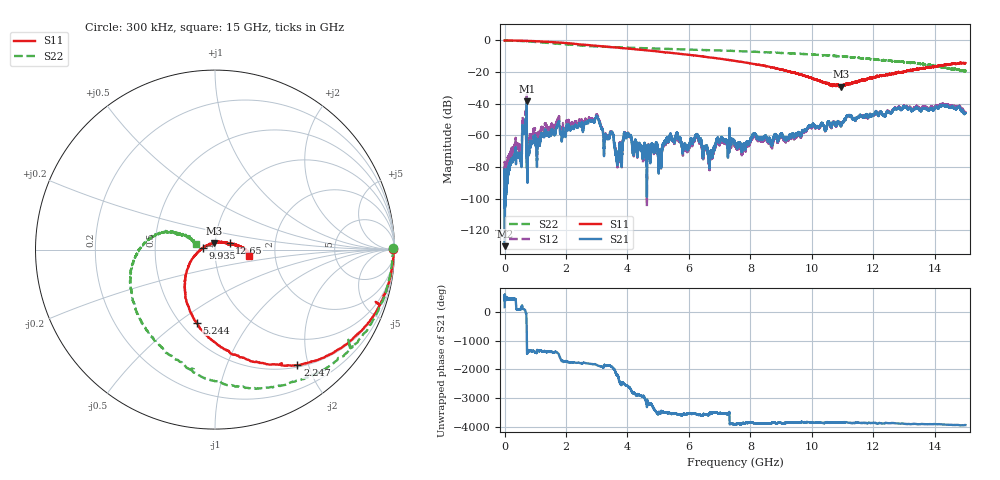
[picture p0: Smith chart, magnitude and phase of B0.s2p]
!Agilent Technologies,N5230C,SG49000117,A.08.50.07
!Agilent N5230C: A.08.50.07
!Date: Monday, December 11, 2023 21:11:51
!Correction: S11(Full 2 Port(1,2))
!S21(Full 2 Port(1,2))
!S12(Full 2 Port(1,2))
!S22(Full 2 Port(1,2))
!S2P File: Measurements: S11, S21, S12, S22:
# Hz S  RI  R 50
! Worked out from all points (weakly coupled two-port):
!   20001 points, 300 kHz to 15 GHz, reference 50 ohm
!   highest |S21| = -38.35 dB at 721.8 MHz (marker M1); lowest = -129.9 dB at 8.55 MHz (marker M2)
!   lowest |S11| = -29.2 dB at 10.95 GHz (marker M3), VSWR 1.07, Z = 49.3 + j3.38 ohm
!   |S11| at or under -10 dB: 6.403289 GHz to 6.405095 GHz (1.806 MHz wide, 0.0282 % of centre); 6.405 GHz to end of sweep
!   |S22| runs from -19.5 to 0.0 dB; largest |S21 - S12| = 0.011
!   S11 on the Smith chart (normalised r, x): 300 kHz: open; 2.247 GHz: 0.53, -1.82; 5.244 GHz: 0.60, -0.59; 9.935 GHz: 0.87, +0.02; 12.65 GHz: 1.17, +0.08; 15 GHz: 1.46, -0.11
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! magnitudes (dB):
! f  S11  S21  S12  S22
! 300 kHz  -0.1  -87.6  -80.4  -0.1
! 8.55 MHz  0.0  -129.9  -90.4  -0.1
! 490.8 MHz  -0.2  -73.2  -68.3  -0.3
! 647.5 MHz  -0.2  -57.6  -52.3  -0.5
! 721.8 MHz  -0.5  -38.3  -33.1  -0.9
! 2.247 GHz  -2.0  -55.7  -53.6  -2.8
! 2.501 GHz  -2.6  -52.8  -51.0  -3.2
! 3.019 GHz  -3.4  -48.4  -47.2  -3.8
! 3.663 GHz  -4.5  -77.6  -76.8  -4.3
! 3.958 GHz  -5.1  -61.2  -61.0  -4.5
! 5 GHz  -7.0  -73.9  -74.4  -5.2
! 5.244 GHz  -7.6  -63.7  -64.4  -5.4
! 6.258 GHz  -9.6  -59.6  -60.5  -5.9
! 6.701 GHz  -10.8  -70.1  -73.5  -6.2
! 6.959 GHz  -11.4  -62.7  -64.5  -6.3
! 7.5 GHz  -12.9  -65.1  -66.2  -6.7
! 9.935 GHz  -23.3  -53.8  -54.3  -8.8
! 10 GHz  -23.9  -54.0  -55.0  -8.9
! 10.95 GHz  -29.2  -53.7  -53.5  -10.1
! 12.5 GHz  -21.3  -45.4  -44.9  -12.8
! 12.65 GHz  -21.1  -43.8  -43.5  -12.9
! 15 GHz  -14.3  -46.0  -45.4  -19.0
